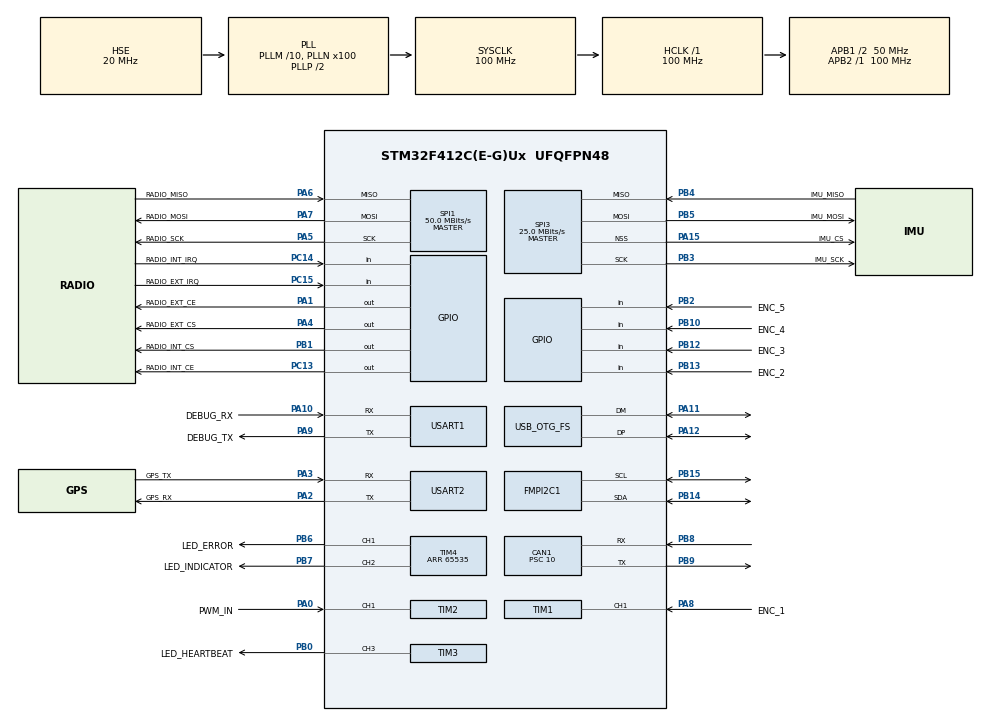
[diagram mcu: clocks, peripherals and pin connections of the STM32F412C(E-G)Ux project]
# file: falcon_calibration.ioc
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CAN1.BS1=CAN_BS1_7TQ
CAN1.BS2=CAN_BS2_2TQ
CAN1.CalculateBaudRate=500000
CAN1.CalculateTimeBit=2000
CAN1.CalculateTimeQuantum=200.0
CAN1.NART=ENABLE
CAN1.Prescaler=10
FMPI2C1.Timing=0x00C0EAFF
Mcu.Family=STM32F4
Mcu.Name=STM32F412C(E-G)Ux
Mcu.Package=UFQFPN48
NVIC.OTG_FS_IRQn=true\:0\:0\:false\:false\:true\:false\:true\:true
NVIC.PriorityGroup=NVIC_PRIORITYGROUP_4
PA0.GPIO_Label=PWM_IN
PA0.GPIO_PuPd=GPIO_PULLDOWN
PA0.Signal=S_TIM2_CH1_ETR
PA1.GPIO_Label=RADIO_EXT_CE
PA1.Signal=GPIO_Output
PA10.GPIO_Label=DEBUG_RX
PA10.Mode=Asynchronous
PA10.Signal=USART1_RX
PA11.Mode=Device_Only
PA11.Signal=USB_OTG_FS_DM
PA12.Mode=Device_Only
PA12.Signal=USB_OTG_FS_DP
PA13.Mode=Serial_Wire
PA13.Signal=SYS_JTMS-SWDIO
PA14.Mode=Serial_Wire
PA14.Signal=SYS_JTCK-SWCLK
PA15.GPIO_Label=IMU_CS
PA15.Mode=NSS_Signal_Hard_Output
PA15.Signal=SPI3_NSS
PA2.GPIO_Label=GPS_RX
PA2.Mode=Asynchronous
PA2.Signal=USART2_TX
PA3.GPIO_Label=GPS_TX
PA3.Mode=Asynchronous
PA3.Signal=USART2_RX
PA4.GPIO_Label=RADIO_EXT_CS
PA4.Signal=GPIO_Output
PA5.GPIO_Label=RADIO_SCK
PA5.Mode=Full_Duplex_Master
PA5.Signal=SPI1_SCK
PA6.GPIO_Label=RADIO_MISO
PA6.Mode=Full_Duplex_Master
PA6.Signal=SPI1_MISO
PA7.GPIO_Label=RADIO_MOSI
PA7.Mode=Full_Duplex_Master
PA7.Signal=SPI1_MOSI
PA8.GPIO_Label=ENC_1
PA8.GPIO_PuPd=GPIO_PULLDOWN
PA8.Signal=S_TIM1_CH1
PA9.GPIO_Label=DEBUG_TX
PA9.Mode=Asynchronous
PA9.Signal=USART1_TX
PB0.GPIO_Label=LED_HEARTBEAT
PB0.Signal=S_TIM3_CH3
PB1.GPIO_Label=RADIO_INT_CS
PB1.Signal=GPIO_Output
PB10.GPIO_Label=ENC_4
PB10.GPIO_PuPd=GPIO_PULLDOWN
PB10.Signal=GPIO_Input
PB12.GPIO_Label=ENC_3
PB12.GPIO_PuPd=GPIO_PULLDOWN
PB12.Signal=GPIO_Input
PB13.GPIO_Label=ENC_2
PB13.GPIO_PuPd=GPIO_PULLDOWN
PB13.Signal=GPIO_Input
PB14.Mode=I2C
PB14.Signal=FMPI2C1_SDA
PB15.Mode=I2C
PB15.Signal=FMPI2C1_SCL
PB2.GPIO_Label=ENC_5
PB2.GPIO_PuPd=GPIO_PULLDOWN
PB2.Signal=GPIO_Input
PB3.GPIO_Label=IMU_SCK
PB3.Mode=Full_Duplex_Master
PB3.Signal=SPI3_SCK
PB4.GPIO_Label=IMU_MISO
PB4.Mode=Full_Duplex_Master
PB4.Signal=SPI3_MISO
PB5.GPIO_Label=IMU_MOSI
PB5.Mode=Full_Duplex_Master
PB5.Signal=SPI3_MOSI
PB6.GPIO_Label=LED_ERROR
PB6.Signal=S_TIM4_CH1
PB7.GPIO_Label=LED_INDICATOR
PB7.Signal=S_TIM4_CH2
PB8.Mode=CAN_Activate
PB8.Signal=CAN1_RX
PB9.Mode=CAN_Activate
PB9.Signal=CAN1_TX
PC13.GPIO_Label=RADIO_INT_CE
PC13.Signal=GPIO_Output
PC14-OSC32_IN.GPIO_Label=RADIO_INT_IRQ
PC14-OSC32_IN.GPIO_PuPd=GPIO_PULLUP
PC14-OSC32_IN.Signal=GPIO_Input
PC15-OSC32_OUT.GPIO_Label=RADIO_EXT_IRQ
PC15-OSC32_OUT.GPIO_PuPd=GPIO_PULLUP
PC15-OSC32_OUT.Signal=GPIO_Input
PH0\ -\ OSC_IN.Mode=HSE-External-Oscillator
PH0\ -\ OSC_IN.Signal=RCC_OSC_IN
PH1\ -\ OSC_OUT.Mode=HSE-External-Oscillator
PH1\ -\ OSC_OUT.Signal=RCC_OSC_OUT
ProjectManager.HeapSize=0x200
ProjectManager.StackSize=0x400
ProjectManager.TargetToolchain=STM32CubeIDE
RCC.AHBFreq_Value=100000000
RCC.APB1CLKDivider=RCC_HCLK_DIV2
RCC.APB1Freq_Value=50000000
RCC.APB1TimFreq_Value=100000000
RCC.APB2Freq_Value=100000000
RCC.APB2TimFreq_Value=100000000
RCC.CortexFreq_Value=100000000
RCC.HCLKFreq_Value=100000000
RCC.HSE_VALUE=20000000
RCC.PLLI2SQ=5
RCC.PLLM=10
RCC.PLLN=100
RCC.PLLQ=4
RCC.SYSCLKFreq_VALUE=100000000
RCC.SYSCLKSource=RCC_SYSCLKSOURCE_PLLCLK
RCC.USBCLockSelection=RCC_CLK48CLKSOURCE_PLLI2SQ
RCC.USBFreq_Value=48000000
RCC.VCOOutputFreq_Value=200000000
SH.S_TIM1_CH1.0=TIM1_CH1,Input_Capture1_from_TI1
SH.S_TIM2_CH1_ETR.0=TIM2_CH1,Input_Capture1_from_TI1
SH.S_TIM3_CH3.0=TIM3_CH3,PWM Generation3 CH3
SH.S_TIM4_CH1.0=TIM4_CH1,PWM Generation1 CH1
SH.S_TIM4_CH2.0=TIM4_CH2,PWM Generation2 CH2
SPI1.CalculateBaudRate=50.0 MBits/s
SPI1.Direction=SPI_DIRECTION_2LINES
SPI1.Mode=SPI_MODE_MASTER
SPI1.VirtualType=VM_MASTER
SPI3.CalculateBaudRate=25.0 MBits/s
SPI3.Direction=SPI_DIRECTION_2LINES
SPI3.Mode=SPI_MODE_MASTER
SPI3.VirtualNSS=VM_NSSHARD
SPI3.VirtualType=VM_MASTER
TIM1.Channel-Input_Capture1_from_TI1=TIM_CHANNEL_1
TIM2.Channel-Input_Capture1_from_TI1=TIM_CHANNEL_1
TIM2.Prescaler=1
TIM3.Channel-PWM\ Generation3\ CH3=TIM_CHANNEL_3
TIM3.Pulse-PWM\ Generation3\ CH3=65535
TIM4.Channel-PWM\ Generation1\ CH1=TIM_CHANNEL_1
TIM4.Channel-PWM\ Generation2\ CH2=TIM_CHANNEL_2
TIM4.Period=65535
TIM4.Pulse-PWM\ Generation1\ CH1=65535
TIM4.Pulse-PWM\ Generation2\ CH2=65535
USART1.VirtualMode=VM_ASYNC
USART2.VirtualMode=VM_ASYNC
USB_DEVICE.CLASS_NAME_FS=CDC
USB_DEVICE.MANUFACTURER_STRING=HPVDT
USB_DEVICE.PID_CDC_FS=64028
USB_DEVICE.PRODUCT_STRING_CDC_FS=Falcon Mother Board Rev. 3.0
USB_DEVICE.VID=51888
USB_DEVICE.VirtualMode=Cdc
USB_DEVICE.VirtualModeFS=Cdc_FS
USB_OTG_FS.VirtualMode=Device_Only
VP_TIM1_VS_ClockSourceINT.Mode=Internal
VP_TIM2_VS_ClockSourceINT.Mode=Internal
VP_TIM3_VS_ClockSourceINT.Mode=Internal
VP_TIM4_VS_ClockSourceINT.Mode=Internal
VP_USB_DEVICE_VS_USB_DEVICE_CDC_FS.Mode=CDC_FS
board=custom

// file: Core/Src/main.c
/* USER CODE BEGIN Header */
/**
  ******************************************************************************
  * @file           : main.c
  * @brief          : Main program body
  ******************************************************************************
  * @attention
  *
  * Copyright (c) 2025 STMicroelectronics.
  * All rights reserved.
  *
  * This software is licensed under terms that can be found in the LICENSE file
  * in the root directory of this software component.
  * If no LICENSE file comes with this software, it is provided AS-IS.
  *
  ******************************************************************************
  */
/* USER CODE END Header */
#include "main.h"
#include "usb_device.h"

/* USER CODE BEGIN Includes */
#include <stdbool.h>
#include <stdint.h>
#include "usbd_cdc_if.h"
#include "string.h"
#include "led_operation.h"
#include "can_wrapper.h"
#include "wing_modules.h"
#include "command_line.h"
/* USER CODE END Includes */

CAN_HandleTypeDef hcan1;

FMPI2C_HandleTypeDef hfmpi2c1;

SPI_HandleTypeDef hspi1;
SPI_HandleTypeDef hspi3;

TIM_HandleTypeDef htim1;
TIM_HandleTypeDef htim2;
TIM_HandleTypeDef htim3;
TIM_HandleTypeDef htim4;

UART_HandleTypeDef huart1;
UART_HandleTypeDef huart2;

/* USER CODE BEGIN PV */
TIM_HandleTypeDef* led_err_clk = &htim4;
uint32_t led_err_chn = TIM_CHANNEL_1;
TIM_HandleTypeDef* led_ind_clk = &htim4;
uint32_t led_ind_chn = TIM_CHANNEL_2;
TIM_HandleTypeDef* led_heartbeat_clk = &htim3;
uint32_t led_heartbeat_chn = TIM_CHANNEL_3;

bool print_readings = false;
/* USER CODE END PV */

void SystemClock_Config(void);
static void MX_GPIO_Init(void);
static void MX_CAN1_Init(void);
static void MX_FMPI2C1_Init(void);
static void MX_USART1_UART_Init(void);
static void MX_USART2_UART_Init(void);
static void MX_SPI1_Init(void);
static void MX_SPI3_Init(void);
static void MX_TIM3_Init(void);
static void MX_TIM4_Init(void);
static void MX_TIM2_Init(void);
static void MX_TIM1_Init(void);
/* USER CODE BEGIN PFP */
#ifdef __GNUC__
/* With GCC/RAISONANCE, small printf (option LD Linker->Libraries->Small printf
   set to 'Yes') calls __io_putchar() */
#define PUTCHAR_PROTOTYPE int __io_putchar(int ch)
#else
#define PUTCHAR_PROTOTYPE int fputc(int ch, FILE *f)
#endif /* __GNUC__ */
/* USER CODE END PFP */

/* USER CODE BEGIN 0 */
int print_nice_loading(uint8_t* buffer, uint16_t buff_len) {
	static uint32_t next_print_tick = 0;
	uint32_t current_tick = HAL_GetTick();

	if (current_tick < next_print_tick) {
		buffer[0] = '\0'; // Nullify the buffer
		return 0;
	}

	const uint32_t PRINT_PERIOD_TICKS = 1000;
	next_print_tick = current_tick + PRINT_PERIOD_TICKS;

	struct WingLoading load;
	wing_report_strain(&load);

	snprintf((char*) buffer, buff_len, "%.3f,%.3f,%.3f,%.3f,%.3f,%.3f,%.3f,%.3f\r\n",
			load.strain_port[2],
			load.strain_port[1],
			load.strain_port[0],
			load.strain_center,
			load.strain_starboard[0],
			load.strain_starboard[1],
			load.strain_starboard[2],
			load.torsion
			);
	return strnlen((char*) buffer, buff_len);
}
/* USER CODE END 0 */

int main(void)
{

  /* MCU Configuration--------------------------------------------------------*/

  /* Reset of all peripherals, Initializes the Flash interface and the Systick. */
  HAL_Init();

  /* Configure the system clock */
  SystemClock_Config();

  /* Initialize all configured peripherals */
  MX_GPIO_Init();
  MX_USB_DEVICE_Init();
  MX_CAN1_Init();
  MX_FMPI2C1_Init();
  MX_USART1_UART_Init();
  MX_USART2_UART_Init();
  MX_SPI1_Init();
  MX_SPI3_Init();
  MX_TIM3_Init();
  MX_TIM4_Init();
  MX_TIM2_Init();
  MX_TIM1_Init();
  /* USER CODE BEGIN 2 */

  struct LEDMoBoConfig led_config = {
		  .error_timer = led_err_clk,
		  .error_channel = led_err_chn,
		  .indicator_timer = led_ind_clk,
		  .indicator_channel = led_ind_chn,
		  .heartbeat_timer = led_heartbeat_clk,
		  .heartbeat_channel = led_heartbeat_chn,
  };
  led_setup(&led_config);

  wing_setup(&hcan1);
  uint8_t usb_tx_buffer[500] = {0};
  uint16_t usb_tx_length = 0;
  /* USER CODE END 2 */

  /* Infinite loop */
  /* USER CODE BEGIN WHILE */
  while (1)
  {
	  if (HAL_CAN_GetRxFifoFillLevel(&hcan1, CAN_LOAD_FIFO) > 0) {
		  CAN_RxHeaderTypeDef rx_header = {0};
		  uint8_t rx_buffer[8] = {0};
		  HAL_CAN_GetRxMessage(&hcan1, CAN_LOAD_FIFO, &rx_header, rx_buffer);

		  wing_record_strain(rx_header.StdId, rx_buffer);

	  }
    /* USER CODE END WHILE */

    /* USER CODE BEGIN 3 */
      led_operate(&led_config);

      if (print_readings) {
		  usb_tx_length = print_nice_loading(usb_tx_buffer, sizeof(usb_tx_buffer));
		  if (usb_tx_length > 0) {
			  CDC_Transmit_FS(usb_tx_buffer, usb_tx_length);
			  wing_setup(&hcan1);
		  }
      }
      HAL_Delay(10);
  }
  /* USER CODE END 3 */
}

void SystemClock_Config(void)
{
  RCC_OscInitTypeDef RCC_OscInitStruct = {0};
  RCC_ClkInitTypeDef RCC_ClkInitStruct = {0};

  /** Configure the main internal regulator output voltage
  */
  __HAL_RCC_PWR_CLK_ENABLE();
  __HAL_PWR_VOLTAGESCALING_CONFIG(PWR_REGULATOR_VOLTAGE_SCALE1);

  /** Initializes the RCC Oscillators according to the specified parameters
  * in the RCC_OscInitTypeDef structure.
  */
  RCC_OscInitStruct.OscillatorType = RCC_OSCILLATORTYPE_HSE;
  RCC_OscInitStruct.HSEState = RCC_HSE_ON;
  RCC_OscInitStruct.PLL.PLLState = RCC_PLL_ON;
  RCC_OscInitStruct.PLL.PLLSource = RCC_PLLSOURCE_HSE;
  RCC_OscInitStruct.PLL.PLLM = 10;
  RCC_OscInitStruct.PLL.PLLN = 100;
  RCC_OscInitStruct.PLL.PLLP = RCC_PLLP_DIV2;
  RCC_OscInitStruct.PLL.PLLQ = 4;
  RCC_OscInitStruct.PLL.PLLR = 2;
  if (HAL_RCC_OscConfig(&RCC_OscInitStruct) != HAL_OK)
  {
    Error_Handler();
  }

  /** Initializes the CPU, AHB and APB buses clocks
  */
  RCC_ClkInitStruct.ClockType = RCC_CLOCKTYPE_HCLK|RCC_CLOCKTYPE_SYSCLK
                              |RCC_CLOCKTYPE_PCLK1|RCC_CLOCKTYPE_PCLK2;
  RCC_ClkInitStruct.SYSCLKSource = RCC_SYSCLKSOURCE_PLLCLK;
  RCC_ClkInitStruct.AHBCLKDivider = RCC_SYSCLK_DIV1;
  RCC_ClkInitStruct.APB1CLKDivider = RCC_HCLK_DIV2;
  RCC_ClkInitStruct.APB2CLKDivider = RCC_HCLK_DIV1;

  if (HAL_RCC_ClockConfig(&RCC_ClkInitStruct, FLASH_LATENCY_3) != HAL_OK)
  {
    Error_Handler();
  }
}

static void MX_CAN1_Init(void)
{

  hcan1.Instance = CAN1;
  hcan1.Init.Prescaler = 10;
  hcan1.Init.Mode = CAN_MODE_NORMAL;
  hcan1.Init.SyncJumpWidth = CAN_SJW_1TQ;
  hcan1.Init.TimeSeg1 = CAN_BS1_7TQ;
  hcan1.Init.TimeSeg2 = CAN_BS2_2TQ;
  hcan1.Init.TimeTriggeredMode = DISABLE;
  hcan1.Init.AutoBusOff = DISABLE;
  hcan1.Init.AutoWakeUp = DISABLE;
  hcan1.Init.AutoRetransmission = ENABLE;
  hcan1.Init.ReceiveFifoLocked = DISABLE;
  hcan1.Init.TransmitFifoPriority = DISABLE;
  if (HAL_CAN_Init(&hcan1) != HAL_OK)
  {
    Error_Handler();
  }

}

static void MX_FMPI2C1_Init(void)
{

  hfmpi2c1.Instance = FMPI2C1;
  hfmpi2c1.Init.Timing = 0x00C0EAFF;
  hfmpi2c1.Init.OwnAddress1 = 0;
  hfmpi2c1.Init.AddressingMode = FMPI2C_ADDRESSINGMODE_7BIT;
  hfmpi2c1.Init.DualAddressMode = FMPI2C_DUALADDRESS_DISABLE;
  hfmpi2c1.Init.OwnAddress2 = 0;
  hfmpi2c1.Init.OwnAddress2Masks = FMPI2C_OA2_NOMASK;
  hfmpi2c1.Init.GeneralCallMode = FMPI2C_GENERALCALL_DISABLE;
  hfmpi2c1.Init.NoStretchMode = FMPI2C_NOSTRETCH_DISABLE;
  if (HAL_FMPI2C_Init(&hfmpi2c1) != HAL_OK)
  {
    Error_Handler();
  }

  /** Configure Analogue filter
  */
  if (HAL_FMPI2CEx_ConfigAnalogFilter(&hfmpi2c1, FMPI2C_ANALOGFILTER_ENABLE) != HAL_OK)
  {
    Error_Handler();
  }

}

static void MX_SPI1_Init(void)
{

  /* SPI1 parameter configuration*/
  hspi1.Instance = SPI1;
  hspi1.Init.Mode = SPI_MODE_MASTER;
  hspi1.Init.Direction = SPI_DIRECTION_2LINES;
  hspi1.Init.DataSize = SPI_DATASIZE_8BIT;
  hspi1.Init.CLKPolarity = SPI_POLARITY_LOW;
  hspi1.Init.CLKPhase = SPI_PHASE_1EDGE;
  hspi1.Init.NSS = SPI_NSS_SOFT;
  hspi1.Init.BaudRatePrescaler = SPI_BAUDRATEPRESCALER_2;
  hspi1.Init.FirstBit = SPI_FIRSTBIT_MSB;
  hspi1.Init.TIMode = SPI_TIMODE_DISABLE;
  hspi1.Init.CRCCalculation = SPI_CRCCALCULATION_DISABLE;
  hspi1.Init.CRCPolynomial = 10;
  if (HAL_SPI_Init(&hspi1) != HAL_OK)
  {
    Error_Handler();
  }

}

static void MX_SPI3_Init(void)
{

  /* SPI3 parameter configuration*/
  hspi3.Instance = SPI3;
  hspi3.Init.Mode = SPI_MODE_MASTER;
  hspi3.Init.Direction = SPI_DIRECTION_2LINES;
  hspi3.Init.DataSize = SPI_DATASIZE_8BIT;
  hspi3.Init.CLKPolarity = SPI_POLARITY_LOW;
  hspi3.Init.CLKPhase = SPI_PHASE_1EDGE;
  hspi3.Init.NSS = SPI_NSS_HARD_OUTPUT;
  hspi3.Init.BaudRatePrescaler = SPI_BAUDRATEPRESCALER_2;
  hspi3.Init.FirstBit = SPI_FIRSTBIT_MSB;
  hspi3.Init.TIMode = SPI_TIMODE_DISABLE;
  hspi3.Init.CRCCalculation = SPI_CRCCALCULATION_DISABLE;
  hspi3.Init.CRCPolynomial = 10;
  if (HAL_SPI_Init(&hspi3) != HAL_OK)
  {
    Error_Handler();
  }

}

static void MX_TIM1_Init(void)
{

  TIM_ClockConfigTypeDef sClockSourceConfig = {0};
  TIM_MasterConfigTypeDef sMasterConfig = {0};
  TIM_IC_InitTypeDef sConfigIC = {0};

  htim1.Instance = TIM1;
  htim1.Init.Prescaler = 0;
  htim1.Init.CounterMode = TIM_COUNTERMODE_UP;
  htim1.Init.Period = 65535;
  htim1.Init.ClockDivision = TIM_CLOCKDIVISION_DIV1;
  htim1.Init.RepetitionCounter = 0;
  htim1.Init.AutoReloadPreload = TIM_AUTORELOAD_PRELOAD_DISABLE;
  if (HAL_TIM_Base_Init(&htim1) != HAL_OK)
  {
    Error_Handler();
  }
  sClockSourceConfig.ClockSource = TIM_CLOCKSOURCE_INTERNAL;
  if (HAL_TIM_ConfigClockSource(&htim1, &sClockSourceConfig) != HAL_OK)
  {
    Error_Handler();
  }
  if (HAL_TIM_IC_Init(&htim1) != HAL_OK)
  {
    Error_Handler();
  }
  sMasterConfig.MasterOutputTrigger = TIM_TRGO_RESET;
  sMasterConfig.MasterSlaveMode = TIM_MASTERSLAVEMODE_DISABLE;
  if (HAL_TIMEx_MasterConfigSynchronization(&htim1, &sMasterConfig) != HAL_OK)
  {
    Error_Handler();
  }
  sConfigIC.ICPolarity = TIM_INPUTCHANNELPOLARITY_RISING;
  sConfigIC.ICSelection = TIM_ICSELECTION_DIRECTTI;
  sConfigIC.ICPrescaler = TIM_ICPSC_DIV1;
  sConfigIC.ICFilter = 0;
  if (HAL_TIM_IC_ConfigChannel(&htim1, &sConfigIC, TIM_CHANNEL_1) != HAL_OK)
  {
    Error_Handler();
  }

}

static void MX_TIM2_Init(void)
{

  TIM_ClockConfigTypeDef sClockSourceConfig = {0};
  TIM_MasterConfigTypeDef sMasterConfig = {0};
  TIM_IC_InitTypeDef sConfigIC = {0};

  htim2.Instance = TIM2;
  htim2.Init.Prescaler = 1;
  htim2.Init.CounterMode = TIM_COUNTERMODE_UP;
  htim2.Init.Period = 4294967295;
  htim2.Init.ClockDivision = TIM_CLOCKDIVISION_DIV1;
  htim2.Init.AutoReloadPreload = TIM_AUTORELOAD_PRELOAD_DISABLE;
  if (HAL_TIM_Base_Init(&htim2) != HAL_OK)
  {
    Error_Handler();
  }
  sClockSourceConfig.ClockSource = TIM_CLOCKSOURCE_INTERNAL;
  if (HAL_TIM_ConfigClockSource(&htim2, &sClockSourceConfig) != HAL_OK)
  {
    Error_Handler();
  }
  if (HAL_TIM_IC_Init(&htim2) != HAL_OK)
  {
    Error_Handler();
  }
  sMasterConfig.MasterOutputTrigger = TIM_TRGO_RESET;
  sMasterConfig.MasterSlaveMode = TIM_MASTERSLAVEMODE_DISABLE;
  if (HAL_TIMEx_MasterConfigSynchronization(&htim2, &sMasterConfig) != HAL_OK)
  {
    Error_Handler();
  }
  sConfigIC.ICPolarity = TIM_INPUTCHANNELPOLARITY_RISING;
  sConfigIC.ICSelection = TIM_ICSELECTION_DIRECTTI;
  sConfigIC.ICPrescaler = TIM_ICPSC_DIV1;
  sConfigIC.ICFilter = 0;
  if (HAL_TIM_IC_ConfigChannel(&htim2, &sConfigIC, TIM_CHANNEL_1) != HAL_OK)
  {
    Error_Handler();
  }

}

static void MX_TIM3_Init(void)
{

  TIM_ClockConfigTypeDef sClockSourceConfig = {0};
  TIM_MasterConfigTypeDef sMasterConfig = {0};
  TIM_OC_InitTypeDef sConfigOC = {0};

  htim3.Instance = TIM3;
  htim3.Init.Prescaler = 0;
  htim3.Init.CounterMode = TIM_COUNTERMODE_UP;
  htim3.Init.Period = 65535;
  htim3.Init.ClockDivision = TIM_CLOCKDIVISION_DIV1;
  htim3.Init.AutoReloadPreload = TIM_AUTORELOAD_PRELOAD_DISABLE;
  if (HAL_TIM_Base_Init(&htim3) != HAL_OK)
  {
    Error_Handler();
  }
  sClockSourceConfig.ClockSource = TIM_CLOCKSOURCE_INTERNAL;
  if (HAL_TIM_ConfigClockSource(&htim3, &sClockSourceConfig) != HAL_OK)
  {
    Error_Handler();
  }
  if (HAL_TIM_PWM_Init(&htim3) != HAL_OK)
  {
    Error_Handler();
  }
  sMasterConfig.MasterOutputTrigger = TIM_TRGO_RESET;
  sMasterConfig.MasterSlaveMode = TIM_MASTERSLAVEMODE_DISABLE;
  if (HAL_TIMEx_MasterConfigSynchronization(&htim3, &sMasterConfig) != HAL_OK)
  {
    Error_Handler();
  }
  sConfigOC.OCMode = TIM_OCMODE_PWM1;
  sConfigOC.Pulse = 65535;
  sConfigOC.OCPolarity = TIM_OCPOLARITY_HIGH;
  sConfigOC.OCFastMode = TIM_OCFAST_DISABLE;
  if (HAL_TIM_PWM_ConfigChannel(&htim3, &sConfigOC, TIM_CHANNEL_3) != HAL_OK)
  {
    Error_Handler();
  }
  HAL_TIM_MspPostInit(&htim3);

}

static void MX_TIM4_Init(void)
{

  TIM_ClockConfigTypeDef sClockSourceConfig = {0};
  TIM_MasterConfigTypeDef sMasterConfig = {0};
  TIM_OC_InitTypeDef sConfigOC = {0};

  htim4.Instance = TIM4;
  htim4.Init.Prescaler = 0;
  htim4.Init.CounterMode = TIM_COUNTERMODE_UP;
  htim4.Init.Period = 65535;
  htim4.Init.ClockDivision = TIM_CLOCKDIVISION_DIV1;
  htim4.Init.AutoReloadPreload = TIM_AUTORELOAD_PRELOAD_DISABLE;
  if (HAL_TIM_Base_Init(&htim4) != HAL_OK)
  {
    Error_Handler();
  }
  sClockSourceConfig.ClockSource = TIM_CLOCKSOURCE_INTERNAL;
  if (HAL_TIM_ConfigClockSource(&htim4, &sClockSourceConfig) != HAL_OK)
  {
    Error_Handler();
  }
  if (HAL_TIM_PWM_Init(&htim4) != HAL_OK)
  {
    Error_Handler();
  }
  sMasterConfig.MasterOutputTrigger = TIM_TRGO_RESET;
  sMasterConfig.MasterSlaveMode = TIM_MASTERSLAVEMODE_DISABLE;
  if (HAL_TIMEx_MasterConfigSynchronization(&htim4, &sMasterConfig) != HAL_OK)
  {
    Error_Handler();
  }
  sConfigOC.OCMode = TIM_OCMODE_PWM1;
  sConfigOC.Pulse = 65535;
  sConfigOC.OCPolarity = TIM_OCPOLARITY_HIGH;
  sConfigOC.OCFastMode = TIM_OCFAST_DISABLE;
  if (HAL_TIM_PWM_ConfigChannel(&htim4, &sConfigOC, TIM_CHANNEL_1) != HAL_OK)
  {
    Error_Handler();
  }
  if (HAL_TIM_PWM_ConfigChannel(&htim4, &sConfigOC, TIM_CHANNEL_2) != HAL_OK)
  {
    Error_Handler();
  }
  HAL_TIM_MspPostInit(&htim4);

}

static void MX_USART1_UART_Init(void)
{

  huart1.Instance = USART1;
  huart1.Init.BaudRate = 115200;
  huart1.Init.WordLength = UART_WORDLENGTH_8B;
  huart1.Init.StopBits = UART_STOPBITS_1;
  huart1.Init.Parity = UART_PARITY_NONE;
  huart1.Init.Mode = UART_MODE_TX_RX;
  huart1.Init.HwFlowCtl = UART_HWCONTROL_NONE;
  huart1.Init.OverSampling = UART_OVERSAMPLING_16;
  if (HAL_UART_Init(&huart1) != HAL_OK)
  {
    Error_Handler();
  }

}

static void MX_USART2_UART_Init(void)
{

  huart2.Instance = USART2;
  huart2.Init.BaudRate = 115200;
  huart2.Init.WordLength = UART_WORDLENGTH_8B;
  huart2.Init.StopBits = UART_STOPBITS_1;
  huart2.Init.Parity = UART_PARITY_NONE;
  huart2.Init.Mode = UART_MODE_TX_RX;
  huart2.Init.HwFlowCtl = UART_HWCONTROL_NONE;
  huart2.Init.OverSampling = UART_OVERSAMPLING_16;
  if (HAL_UART_Init(&huart2) != HAL_OK)
  {
    Error_Handler();
  }

}

static void MX_GPIO_Init(void)
{
  GPIO_InitTypeDef GPIO_InitStruct = {0};

  /* GPIO Ports Clock Enable */
  __HAL_RCC_GPIOC_CLK_ENABLE();
  __HAL_RCC_GPIOH_CLK_ENABLE();
  __HAL_RCC_GPIOA_CLK_ENABLE();
  __HAL_RCC_GPIOB_CLK_ENABLE();

  /*Configure GPIO pin Output Level */
  HAL_GPIO_WritePin(RADIO_INT_CE_GPIO_Port, RADIO_INT_CE_Pin, GPIO_PIN_RESET);

  /*Configure GPIO pin Output Level */
  HAL_GPIO_WritePin(GPIOA, RADIO_EXT_CE_Pin|RADIO_EXT_CS_Pin, GPIO_PIN_RESET);

  /*Configure GPIO pin Output Level */
  HAL_GPIO_WritePin(RADIO_INT_CS_GPIO_Port, RADIO_INT_CS_Pin, GPIO_PIN_RESET);

  /*Configure GPIO pin : RADIO_INT_CE_Pin */
  GPIO_InitStruct.Pin = RADIO_INT_CE_Pin;
  GPIO_InitStruct.Mode = GPIO_MODE_OUTPUT_PP;
  GPIO_InitStruct.Pull = GPIO_NOPULL;
  GPIO_InitStruct.Speed = GPIO_SPEED_FREQ_LOW;
  HAL_GPIO_Init(RADIO_INT_CE_GPIO_Port, &GPIO_InitStruct);

  /*Configure GPIO pins : RADIO_INT_IRQ_Pin RADIO_EXT_IRQ_Pin */
  GPIO_InitStruct.Pin = RADIO_INT_IRQ_Pin|RADIO_EXT_IRQ_Pin;
  GPIO_InitStruct.Mode = GPIO_MODE_INPUT;
  GPIO_InitStruct.Pull = GPIO_PULLUP;
  HAL_GPIO_Init(GPIOC, &GPIO_InitStruct);

  /*Configure GPIO pins : RADIO_EXT_CE_Pin RADIO_EXT_CS_Pin */
  GPIO_InitStruct.Pin = RADIO_EXT_CE_Pin|RADIO_EXT_CS_Pin;
  GPIO_InitStruct.Mode = GPIO_MODE_OUTPUT_PP;
  GPIO_InitStruct.Pull = GPIO_NOPULL;
  GPIO_InitStruct.Speed = GPIO_SPEED_FREQ_LOW;
  HAL_GPIO_Init(GPIOA, &GPIO_InitStruct);

  /*Configure GPIO pin : RADIO_INT_CS_Pin */
  GPIO_InitStruct.Pin = RADIO_INT_CS_Pin;
  GPIO_InitStruct.Mode = GPIO_MODE_OUTPUT_PP;
  GPIO_InitStruct.Pull = GPIO_NOPULL;
  GPIO_InitStruct.Speed = GPIO_SPEED_FREQ_LOW;
  HAL_GPIO_Init(RADIO_INT_CS_GPIO_Port, &GPIO_InitStruct);

  /*Configure GPIO pins : ENC_5_Pin ENC_4_Pin ENC_3_Pin ENC_2_Pin */
  GPIO_InitStruct.Pin = ENC_5_Pin|ENC_4_Pin|ENC_3_Pin|ENC_2_Pin;
  GPIO_InitStruct.Mode = GPIO_MODE_INPUT;
  GPIO_InitStruct.Pull = GPIO_PULLDOWN;
  HAL_GPIO_Init(GPIOB, &GPIO_InitStruct);

}

/* USER CODE BEGIN 4 */
/**
  * @brief  Retargets the C library printf function to the USART.
  * @param  None
  * @retval None
  */
PUTCHAR_PROTOTYPE
{
  /* Place your implementation of fputc here */
  /* e.g. write a character to the USART1 and Loop until the end of transmission */
  HAL_UART_Transmit(&huart1, (uint8_t *)&ch, 1, 0xFFFF);

  return ch;
}

void USB_CDC_RxHandler(uint8_t* buffer, uint32_t length) {
	if (length < 1) return;
	if (length < (APP_RX_DATA_SIZE - 1)) buffer[length] = '\0'; // Null terminate

	enum CLICommandType command;
	int node_id;
	float parameter;

	int terms_found = sscanf((char*)buffer, "%c%d,%f", (char*)&command, &node_id, &parameter);

	if (terms_found == EOF) return; // Failed to acquire any command

	const size_t OUT_BUF_LEN = 1024;
	char output_message[OUT_BUF_LEN];
	output_message[0] = 0; // Default to an empty string

	int pos = 0;
	switch (command) {
	case CLI_HELP:
		print_readings = false; // Stop reading to not swamp printed message
		pos += snprintf(&output_message[pos], OUT_BUF_LEN - pos, "\n\nFALCON CALIBRATION FIRMWARE HELP\n");
		pos += snprintf(&output_message[pos], OUT_BUF_LEN - pos, "All commands follow format \"CN,P\" where:\n\tC is command character\n\tN is target node\n\tP is optional parameter\n");
		pos += snprintf(&output_message[pos], OUT_BUF_LEN - pos, "Valid command characters:\n");
		pos += snprintf(&output_message[pos], OUT_BUF_LEN - pos, "\t%c - Print this help message (no node/parameter)\n", CLI_HELP);
		pos += snprintf(&output_message[pos], OUT_BUF_LEN - pos, "\t%c - Toggle load reading printout (no node/parameter)\n", CLI_READINGS);
		pos += snprintf(&output_message[pos], OUT_BUF_LEN - pos, "\t%c - Flash a node's light P times\n", CLI_FLASH);
		pos += snprintf(&output_message[pos], OUT_BUF_LEN - pos, "\t%c - Set node strain zero point as P\n", CLI_STR_ZERO);
		pos += snprintf(&output_message[pos], OUT_BUF_LEN - pos, "\t%c - Set node strain scaling factor as P\n", CLI_STR_SCALE);
		pos += snprintf(&output_message[pos], OUT_BUF_LEN - pos, "\t%c - Set node strain gain as a power of 2 from 0 to 7\n", CLI_STR_GAIN);
		pos += snprintf(&output_message[pos], OUT_BUF_LEN - pos, "\t%c - Set node torsion zero point as P\n", CLI_TOR_ZERO);
		pos += snprintf(&output_message[pos], OUT_BUF_LEN - pos, "\t%c - Set node torsion scaling factor as P\n", CLI_TOR_SCALE);
		pos += snprintf(&output_message[pos], OUT_BUF_LEN - pos, "\t%c - Set node torsion gain as a power of 2 from 0 to 7\n", CLI_TOR_GAIN);
		pos += snprintf(&output_message[pos], OUT_BUF_LEN - pos, "\nPROCEDURE TO CALIBRATE WING LOAD MODULES:\n");
		pos += snprintf(&output_message[pos], OUT_BUF_LEN - pos, "\t0. Set gain to 0, zero point to 0, and scale to 1.0. This will provide RAV ADC readings\n");
		pos += snprintf(&output_message[pos], OUT_BUF_LEN - pos, "\t1. Increase gain until pleased with results. Max readings are +/-8388608 so avoid going too close otherwise more loading won't register!\n");
		pos += snprintf(&output_message[pos], OUT_BUF_LEN - pos, "\t2. Record/set the zero point\n");
		pos += snprintf(&output_message[pos], OUT_BUF_LEN - pos, "\t3. Determine and then set the scaling factor. If it reads 100 and 1.0 is desired, enter 0.01\n");
			break;
	case CLI_READINGS:
		print_readings = !print_readings;
		pos = snprintf(output_message, OUT_BUF_LEN, "Toggled reading printing\n");
			break;
	case CLI_FLASH:
		if (terms_found != 3) {
			pos = snprintf(output_message, OUT_BUF_LEN, "Not proper form for flash command: \"%s\". Check HELP using \"%c\".\n", buffer, CLI_HELP);
			break;
		}
		uint8_t flashes = (uint8_t)parameter;
		wing_flash_node(&hcan1, node_id, flashes, 600, 400);
		pos = snprintf(output_message, OUT_BUF_LEN, "Flashing node %d %d times\n", node_id, flashes);
			break;
	case CLI_STR_ZERO:
		if (terms_found != 3) {
			pos = snprintf(output_message, OUT_BUF_LEN, "Not proper form for strain zero command: \"%s\". Check HELP using \"%c\".\n", buffer, CLI_HELP);
			break;
		}
		int32_t str_zero_point = (int32_t)parameter;
		wing_set_strain_zero(&hcan1, node_id, str_zero_point);
		pos = snprintf(output_message, OUT_BUF_LEN, "Set node %d zero point to %ld\n", node_id, str_zero_point);
			break;
	case CLI_STR_GAIN:
		if (terms_found != 3) {
			pos = snprintf(output_message, OUT_BUF_LEN, "Not proper form for strain gain command: \"%s\". Check HELP using \"%c\".\n", buffer, CLI_HELP);
			break;
		}
		uint8_t str_gain = (uint8_t)parameter;
		if (str_gain > 7) {
			pos = snprintf(output_message, OUT_BUF_LEN, "Gain must be 0 to 7 inclusive, read %d.\n", str_gain);
			break;
		}
		wing_set_strain_gain(&hcan1, node_id, str_gain);
		pos = snprintf(output_message, OUT_BUF_LEN, "Set node %d zero point to %d\n", node_id, str_gain);
			break;
	case CLI_STR_SCALE:
		if (terms_found != 3) {
			pos = snprintf(output_message, OUT_BUF_LEN, "Not proper form for strain scale command: \"%s\". Check HELP using \"%c\".\n", buffer, CLI_HELP);
			break;
		}
		wing_set_strain_scale(&hcan1, node_id, parameter);
		pos = snprintf(output_message, OUT_BUF_LEN, "Set node %d scale factor to %f\n", node_id, parameter);
			break;

	case CLI_TOR_ZERO:
		if (terms_found != 3) {
			pos = snprintf(output_message, OUT_BUF_LEN, "Not proper form for torsion zero command: \"%s\". Check HELP using \"%c\".\n", buffer, CLI_HELP);
			break;
		}
		int32_t tor_zero_point = (int32_t)parameter;
		wing_set_torsion_zero(&hcan1, node_id, tor_zero_point);
		pos = snprintf(output_message, OUT_BUF_LEN, "Set node %d torsion zero point to %ld\n", node_id, tor_zero_point);
			break;
	case CLI_TOR_GAIN:
		if (terms_found != 3) {
			pos = snprintf(output_message, OUT_BUF_LEN, "Not proper form for torsion gain command: \"%s\". Check HELP using \"%c\".\n", buffer, CLI_HELP);
			break;
		}
		uint8_t tor_gain = (uint8_t)parameter;
		if (tor_gain > 7) {
			pos = snprintf(output_message, OUT_BUF_LEN, "Gain must be 0 to 7 inclusive, read %d.\n", tor_gain);
			break;
		}
		wing_set_torsion_gain(&hcan1, node_id, tor_gain);
		pos = snprintf(output_message, OUT_BUF_LEN, "Set node %d torsion gain to %d\n", node_id, tor_gain);
			break;
	case CLI_TOR_SCALE:
		if (terms_found != 3) {
			pos = snprintf(output_message, OUT_BUF_LEN, "Not proper form for torsion scale command: \"%s\". Check HELP using \"%c\".\n", buffer, CLI_HELP);
			break;
		}
		wing_set_torsion_scale(&hcan1, node_id, parameter);
		pos = snprintf(output_message, OUT_BUF_LEN, "Set node %d scale factor to %f\n", node_id, parameter);
			break;

	case CLI_UNKNOWN:
	default:
		pos = snprintf(output_message, OUT_BUF_LEN, "Command not recognized \"%s\"\n", buffer);
		break;
	}

	if (output_message[0] == 0) return;

	CDC_Transmit_FS((uint8_t*)output_message, pos);
	//printf("%s", output_message);
}
/* USER CODE END 4 */

void Error_Handler(void)
{
  __disable_irq();
  while (1)
  {
  }
}
